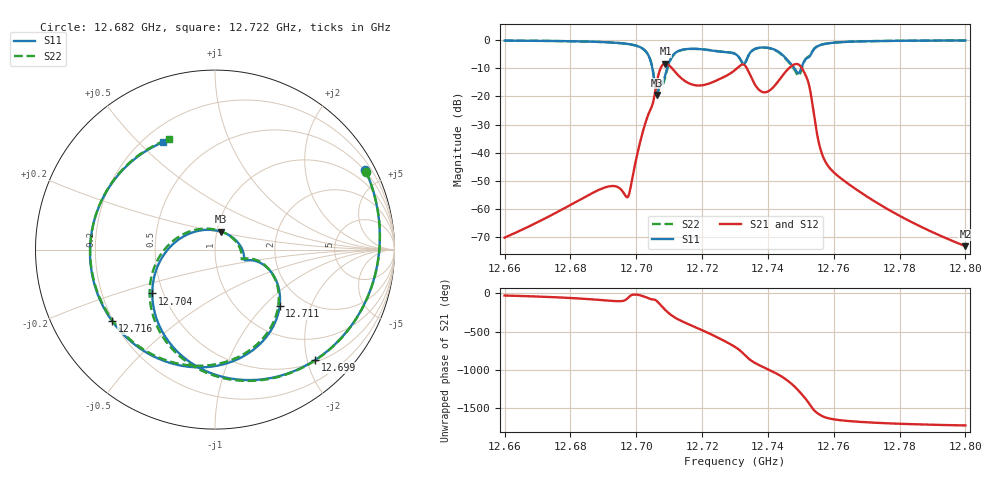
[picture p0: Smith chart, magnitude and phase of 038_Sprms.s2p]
! TOUCHSTONE file generated by CST MICROWAVE STUDIO
! Date and time: Wed Jul 31 12:35:05 2024
! Project name: WaveGuide_BPF-Ver4.1_U-shape_Ku_T3_C4_CWA_2.cst
! Parameters = {cavity_h=16; cavity_l0=10; cavity_l1=15.2326; cavity_l2=16.8488; cavity_l3=17.1106; cavity_l4=17.2987; cavity_l5=17.0874; cavity_l6=17.6155; cavity_r=2.5; cavity_screw_l=0.5; cavity_screw_r=1.5; cavity_w=8; iris_h00=0; iris_h01=8.8143; iris_h112=0; iris_h12=5.587; iris_h211=3.6575; i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
! Header version: 2018
! Port assignment regex: !\s*Touchstone port\s*([0-9]+)\s*=\s*(CST MWS port|CST DS port)\s*([0-9]+|Zmin|Zmax)\s*\(\"(.*)\"\)(\s*mode\s*([0-9]+))?.*
! Touchstone port assignment:
! Touchstone port 1 = CST MWS port 1 ("")
! Touchstone port 2 = CST MWS port 2 ("")
# GHz S RI R 50
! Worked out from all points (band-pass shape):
!   5001 points, 12.66 GHz to 12.8 GHz, reference 50 ohm
!   highest |S21| = -8.33 dB at 12.709 GHz (marker M1); lowest = -73.2 dB at 12.8 GHz (marker M2)
!   |S21| within 3 dB of the highest: 12.72926 GHz to 12.73417 GHz (4.915 MHz wide, 0.0386 % of centre); 12.74532 GHz to 12.75096 GHz (5.64 MHz wide, 0.0442 % of centre) (the widest 2 of 3)
!   lowest |S11| = -19.5 dB at 12.706 GHz (marker M3), VSWR 1.24, Z = 52.2 + j10.6 ohm
!   |S11| at or under -10 dB: 12.70489 GHz to 12.70938 GHz (4.49 MHz wide, 0.0353 % of centre); 12.74802 GHz to 12.75015 GHz (2.132 MHz wide, 0.0167 % of centre)
!   |S22| runs from -19.4 to -0.1 dB; largest |S21 - S12| = 1e-09
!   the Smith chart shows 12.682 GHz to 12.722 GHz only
!   S11 on the Smith chart (normalised r, x): 12.682 GHz: 0.46, +3.98; 12.699 GHz: 0.54, -2.15; 12.704 GHz: 0.44, -0.26; 12.711 GHz: 1.52, -1.23; 12.716 GHz: 0.19, -0.30; 12.722 GHz: 0.28, +0.59
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12.66  0.4143 0.8851  0.00027 -0.000152  0.00027 -0.000152  0.4203 0.8823
12.6824  0.8375 0.4436  0.000536 -0.00131  0.000536 -0.00131  0.842 0.4346
12.68335  0.8539 0.4053  0.000512 -0.00143  0.000512 -0.00143  0.8581 0.3958
12.69861  0.5586 -0.6148  0.00279 -0.00123  0.00279 -0.00123  0.5402 -0.6286
12.70435  -0.3494 -0.2443  0.0143 -0.0572  0.0143 -0.0572  -0.3642 -0.232
12.70617  0.0318 0.1004  -0.0272 -0.1665  -0.0272 -0.1665  0.0222 0.1061
12.70668  0.1275 0.0396  -0.1155 -0.2025  -0.1155 -0.2025  0.1169 0.0437
12.70886  0.2353 -0.0665  -0.2939 0.2459  -0.2939 0.2459  0.2203 -0.0545
12.71057  0.3603 -0.3131  0.0758 0.3203  0.0758 0.3203  0.3538 -0.3037
12.71631  -0.5734 -0.3978  0.1014 -0.1333  0.1014 -0.1333  -0.5895 -0.3671
12.72191  -0.2908 0.598  -0.1568 -0.0583  -0.1568 -0.0583  -0.2551 0.6166
12.72644  0.5766 0.211  -0.0534 0.2113  -0.0534 0.2113  0.5891 0.1947
12.73  0.3084 -0.4768  0.2766 0.0981  0.2766 0.0981  0.3065 -0.4807
12.73288  0.049 -0.3765  0.0419 -0.3568  0.0419 -0.3568  0.053 -0.3683
12.73588  -0.2946 -0.622  -0.1679 0.0167  -0.1679 0.0167  -0.283 -0.625
12.73938  -0.7196 -0.1499  -0.0191 0.117  -0.0191 0.117  -0.7155 -0.153
12.744  -0.1608 0.5505  0.2158 -0.0116  0.2158 -0.0116  -0.1345 0.5449
12.7489  0.234 -0.1247  -0.3726 -0.0408  -0.3726 -0.0408  0.1971 -0.1415
12.75335  0.2671 -0.5374  0.0483 -0.069  0.0483 -0.069  0.2544 -0.5627
12.75822  -0.3668 -0.7909  -0.00574 0.00121  -0.00574 0.00121  -0.3851 -0.785
12.77668  -0.9613 -0.0935  -0.000169 0.000954  -0.000169 0.000954  -0.9624 -0.0848
12.8  -0.9215 0.3432  6.54e-05 0.000208  6.54e-05 0.000208  -0.9192 0.3496
